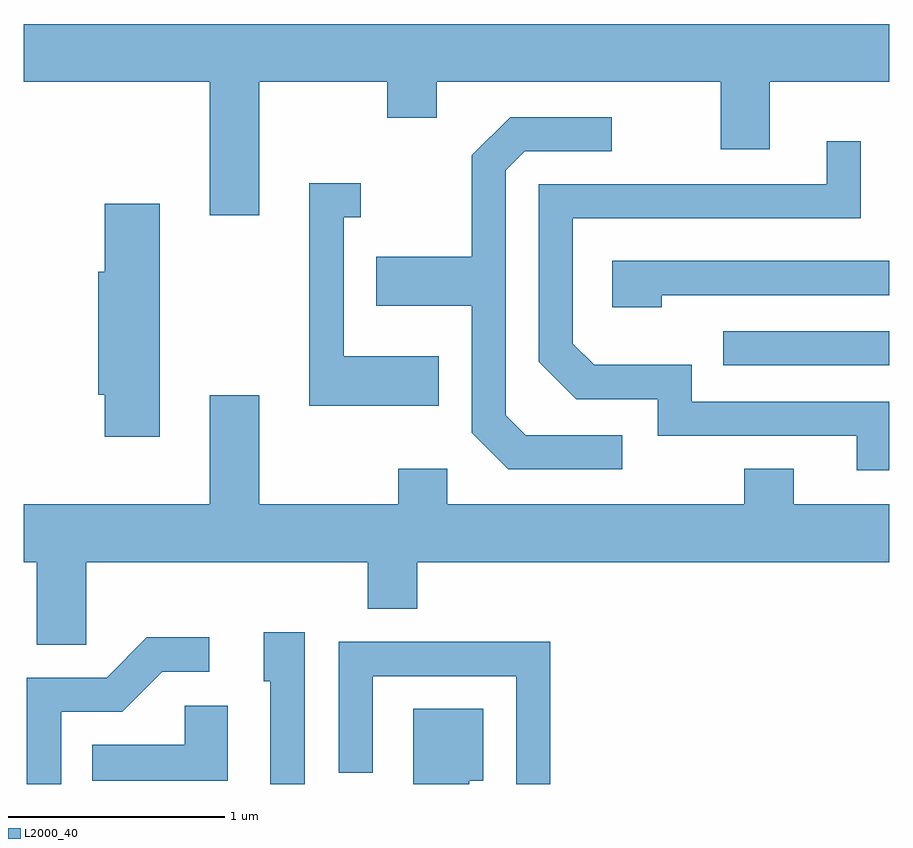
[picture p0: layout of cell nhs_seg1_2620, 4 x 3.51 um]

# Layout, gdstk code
import gdstk
lib = gdstk.Library(unit=1e-6, precision=1e-09)
def R(c, l, rs):  # rectangles x0, y0, x1, y1
    for r in rs: c.add(gdstk.rectangle(r[:2], r[2:], *l))
def P(c, l, *ps):  # polygons
    for p in ps: c.add(gdstk.Polygon(p, *l))
L2000_40 = (2000, 40)

nhs_seg1_2620 = lib.new_cell('nhs_seg1_2620')
R(nhs_seg1_2620, L2000_40, [(268.843,851.646,269.611,851.804)])
P(nhs_seg1_2620, L2000_40, [(266.699,852.956),(267.291,852.956),(267.291,852.791),(267.519,852.791),(267.519,852.956),(268.831,852.956),(268.831,852.646),(269.059,852.646),(269.059,852.956),(269.611,852.956),(269.611,853.224),(265.611,853.224),(265.611,852.956),(266.471,852.956),(266.471,852.341),(266.699,852.341)],
  [(268.378,851.324),(267.932,851.324),(267.839,851.417),(267.839,852.549),(267.927,852.636),(268.328,852.636),(268.328,852.794),(267.859,852.794),(267.681,852.617),(267.681,852.149),(267.241,852.149),(267.241,851.921),(267.681,851.921),(267.681,851.334),(267.849,851.166),(268.378,851.166)],
  [(269.611,851.479),(268.699,851.479),(268.699,851.649),(268.247,851.649),(268.149,851.747),(268.149,852.326),(269.479,852.326),(269.479,852.683),(269.321,852.683),(269.321,852.484),(267.991,852.484),(267.991,851.664),(268.164,851.491),(268.541,851.491),(268.541,851.321),(269.461,851.321),(269.461,851.161),(269.611,851.161)],
  [(267.529,851.689),(267.089,851.689),(267.089,852.331),(267.168,852.331),(267.168,852.489),(266.931,852.489),(266.931,851.461),(267.529,851.461)],
  [(266.239,852.394),(265.986,852.394),(265.986,852.079),(265.956,852.079),(265.956,851.511),(265.986,851.511),(265.986,851.316),(266.239,851.316)],
  [(268.559,851.971),(269.611,851.971),(269.611,852.129),(268.331,852.129),(268.331,851.916),(268.559,851.916)],
  [(269.611,851.004),(269.169,851.004),(269.169,851.169),(268.941,851.169),(268.941,851.004),(267.569,851.004),(267.569,851.169),(267.341,851.169),(267.341,851.004),(266.699,851.004),(266.699,851.509),(266.471,851.509),(266.471,851.004),(265.611,851.004),(265.611,850.736),(265.671,850.736),(265.671,850.356),(265.899,850.356),(265.899,850.736),(267.201,850.736),(267.201,850.521),(267.429,850.521),(267.429,850.736),(269.611,850.736)],
  [(266.909,850.414),(266.721,850.414),(266.721,850.186),(266.751,850.186),(266.751,849.712),(266.909,849.712)],
  [(265.784,850.046),(266.067,850.046),(266.252,850.231),(266.468,850.231),(266.468,850.389),(266.179,850.389),(265.994,850.204),(265.626,850.204),(265.626,849.712),(265.784,849.712)],
  [(268.044,850.369),(267.066,850.369),(267.066,849.763),(267.224,849.763),(267.224,850.211),(267.886,850.211),(267.886,849.712),(268.044,849.712)],
  [(266.554,850.074),(266.356,850.074),(266.356,849.894),(265.928,849.894),(265.928,849.726),(266.554,849.726)],
  [(267.669,849.726),(267.734,849.726),(267.734,850.059),(267.411,850.059),(267.411,849.712),(267.669,849.712)])

lib.write_gds('nhs_seg1_2620.gds')
